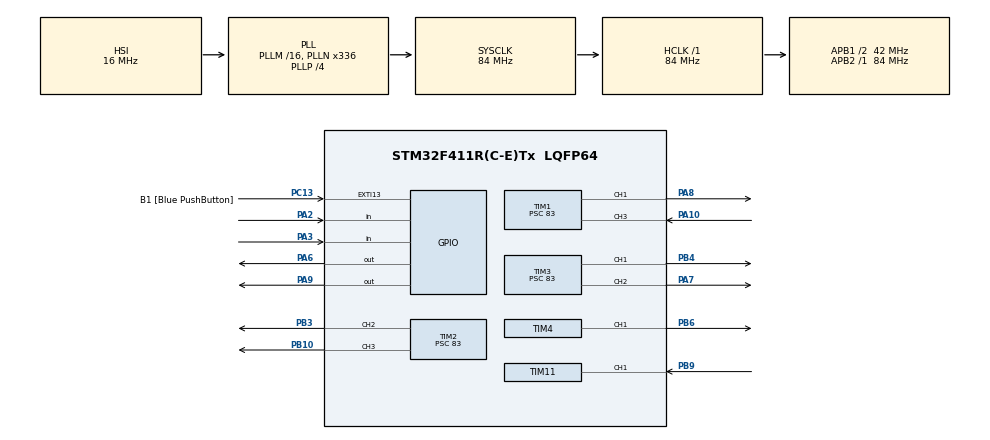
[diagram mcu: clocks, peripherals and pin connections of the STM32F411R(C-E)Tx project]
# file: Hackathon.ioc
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Mcu.Family=STM32F4
Mcu.Name=STM32F411R(C-E)Tx
Mcu.Package=LQFP64
NVIC.PriorityGroup=NVIC_PRIORITYGROUP_0
PA10.Signal=S_TIM1_CH3
PA14.GPIO_Label=TCK
PA14.Signal=SYS_JTCK-SWCLK
PA2.GPIO_PuPd=GPIO_PULLDOWN
PA2.Signal=GPIO_Input
PA3.GPIO_PuPd=GPIO_PULLDOWN
PA3.Signal=GPIO_Input
PA6.Signal=GPIO_Output
PA7.Signal=S_TIM3_CH2
PA8.Signal=S_TIM1_CH1
PA9.Signal=GPIO_Output
PB10.Signal=S_TIM2_CH3
PB3.Signal=S_TIM2_CH2
PB4.Signal=S_TIM3_CH1
PB6.Signal=S_TIM4_CH1
PB9.Signal=S_TIM11_CH1
PC13-ANTI_TAMP.GPIO_Label=B1 [Blue PushButton]
PC13-ANTI_TAMP.GPIO_ModeDefaultEXTI=GPIO_MODE_IT_FALLING
PC13-ANTI_TAMP.Signal=GPXTI13
PC14-OSC32_IN.Mode=LSE-External-Oscillator
PC14-OSC32_IN.Signal=RCC_OSC32_IN
PC15-OSC32_OUT.Mode=LSE-External-Oscillator
PC15-OSC32_OUT.Signal=RCC_OSC32_OUT
PH0\ -\ OSC_IN.Mode=HSE-External-Clock-Source
PH0\ -\ OSC_IN.Signal=RCC_OSC_IN
PH1\ -\ OSC_OUT.Mode=HSE-External-Clock-Source
PH1\ -\ OSC_OUT.Signal=RCC_OSC_OUT
ProjectManager.HeapSize=0x200
ProjectManager.StackSize=0x400
ProjectManager.TargetToolchain=STM32CubeIDE
RCC.48MHZClocksFreq_Value=84000000
RCC.AHBFreq_Value=84000000
RCC.APB1CLKDivider=RCC_HCLK_DIV2
RCC.APB1Freq_Value=42000000
RCC.APB1TimFreq_Value=84000000
RCC.APB2Freq_Value=84000000
RCC.APB2TimFreq_Value=84000000
RCC.CortexFreq_Value=84000000
RCC.FLatency-AdvancedSettings=FLASH_LATENCY_2
RCC.HCLKFreq_Value=84000000
RCC.HSE_VALUE=8000000
RCC.HSI_VALUE=16000000
RCC.PLLN=336
RCC.PLLP=RCC_PLLP_DIV4
RCC.RCC_RTC_Clock_Source=RCC_RTCCLKSOURCE_LSI
RCC.RCC_RTC_Clock_SourceVirtual=RCC_RTCCLKSOURCE_LSI
RCC.SYSCLKFreq_VALUE=84000000
RCC.SYSCLKSource=RCC_SYSCLKSOURCE_PLLCLK
RCC.VCOOutputFreq_Value=336000000
SH.S_TIM11_CH1.0=TIM11_CH1,Input_Capture1_from_TI1
SH.S_TIM1_CH1.0=TIM1_CH1,PWM Generation1 CH1
SH.S_TIM1_CH3.0=TIM1_CH3,Input_Capture3_from_TI3
SH.S_TIM2_CH2.0=TIM2_CH2,PWM Generation2 CH2
SH.S_TIM2_CH3.0=TIM2_CH3,PWM Generation3 CH3
SH.S_TIM3_CH1.0=TIM3_CH1,PWM Generation1 CH1
SH.S_TIM3_CH2.0=TIM3_CH2,PWM Generation2 CH2
SH.S_TIM4_CH1.0=TIM4_CH1,PWM Generation1 CH1
TIM1.Channel-Input_Capture3_from_TI3=TIM_CHANNEL_3
TIM1.Channel-PWM\ Generation1\ CH1=TIM_CHANNEL_1
TIM1.Period=20000
TIM1.Prescaler=83
TIM1.Pulse-PWM\ Generation1\ CH1=1500
TIM11.Channel=TIM_CHANNEL_1
TIM11.Prescaler=83
TIM2.Channel-PWM\ Generation2\ CH2=TIM_CHANNEL_2
TIM2.Channel-PWM\ Generation3\ CH3=TIM_CHANNEL_3
TIM2.Period=20000
TIM2.Prescaler=83
TIM2.Pulse-PWM\ Generation2\ CH2=1500
TIM2.Pulse-PWM\ Generation3\ CH3=1500
TIM3.Channel-PWM\ Generation1\ CH1=TIM_CHANNEL_1
TIM3.Channel-PWM\ Generation2\ CH2=TIM_CHANNEL_2
TIM3.Period=20000
TIM3.Prescaler=83
TIM3.Pulse-PWM\ Generation1\ CH1=1500
TIM3.Pulse-PWM\ Generation2\ CH2=1500
TIM4.Channel-PWM\ Generation1\ CH1=TIM_CHANNEL_1
TIM4.Period=20000
TIM4.Prescaler=83
TIM4.Pulse-PWM\ Generation1\ CH1=1500
VP_TIM11_VS_ClockSourceINT.Mode=Enable_Timer
board=NUCLEO-F411RE

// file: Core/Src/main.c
/* USER CODE BEGIN Header */
/**
  ******************************************************************************
  * @file           : main.c
  * @brief          : Main program body
  ******************************************************************************
  * @attention
  *
  * Copyright (c) 2025 STMicroelectronics.
  * All rights reserved.
  *
  * This software is licensed under terms that can be found in the LICENSE file
  * in the root directory of this software component.
  * If no LICENSE file comes with this software, it is provided AS-IS.
  *
  ******************************************************************************
  */
/* USER CODE END Header */
#include "main.h"

/* USER CODE BEGIN Includes */
#include "Braccio.h"
#include "Ultra.h"
#include "uart_comm.h"
#include<string.h>
#include<stdbool.h>
/* USER CODE END Includes */

TIM_HandleTypeDef htim1;
TIM_HandleTypeDef htim2;
TIM_HandleTypeDef htim3;
TIM_HandleTypeDef htim4;
TIM_HandleTypeDef htim11;

void SystemClock_Config(void);
static void MX_GPIO_Init(void);
static void MX_TIM2_Init(void);
static void MX_TIM3_Init(void);
static void MX_TIM4_Init(void);
static void MX_TIM1_Init(void);
static void MX_TIM11_Init(void);

/* USER CODE BEGIN 0 */
Braccio arm;
uint16_t dist;
/* USER CODE END 0 */

int main(void)
{

  /* MCU Configuration--------------------------------------------------------*/

  /* Reset of all peripherals, Initializes the Flash interface and the Systick. */
  HAL_Init();

  /* Configure the system clock */
  SystemClock_Config();

  /* Initialize all configured peripherals */
  MX_GPIO_Init();
  MX_TIM2_Init();
  MX_TIM3_Init();
  MX_TIM4_Init();
  MX_TIM1_Init();
  MX_TIM11_Init();
  /* USER CODE BEGIN 2 */

  /* Initialize the Braccio arm struct with the appropriate TIM handles */
  arm.timBase 	  = &htim3;
  arm.timShoulder = &htim4;
  arm.timElbow 	  = &htim1;
  arm.timWristV   = &htim2;
  arm.timWristR   = &htim3;
  arm.timGripper  = &htim2;

  /* Initialize Braccio servos (start PWM) */
  Braccio_Init(&arm);
  HAL_GPIO_WritePin(GPIOA, GPIO_PIN_6, GPIO_PIN_SET);
  //UART_Comm_Init(&huart2);
  /* USER CODE END 2 */

  /* Infinite loop */
  /* USER CODE BEGIN WHILE */
  while (1)
   {

	  if (HAL_GPIO_ReadPin(GPIOA, GPIO_PIN_3) == GPIO_PIN_RESET) // PA2 = 1 -> sistem activ
	  {
		  	  dist = Ultrasonic_ReadDistance();

	  	  	  HAL_Delay(1000);
	   		  Braccio_MoveGripperSmooth(&arm, 1500, 1500, 1500, 1500, 1500, 166);

	   	  	  HAL_Delay(1000);
	   	  	  Braccio_RotateAndLiftGripperOpen(&arm, 1500, 1050, 1500, 1900);
	   	  	  HAL_Delay(1000);

	   	  	Braccio_RotateAndLiftGripperOpen(&arm, 1050, 1050, 1900, 1000);
	   		  HAL_Delay(1000);
	   		  Braccio_MoveGripperSmooth(&arm, 1050, 1500, 1500, 1000, 1500, 2500);
	   		  HAL_Delay(1000);
	   		  Braccio_RotateAndLiftGripperClosed(&arm, 1050, 2150, 1000, 2300);
	   		  HAL_Delay(1000);
	   		  Braccio_RotateAndLiftGripperClosed(&arm, 2150, 1900, 2300, 1000);
	   		  HAL_Delay(1000);
	   		  Braccio_MoveGripperSmooth(&arm, 1900, 1500, 1500, 1000, 1500, 166);
	   		  HAL_Delay(1000);
	   		  Braccio_RotateAndLiftGripperOpen(&arm, 1900 ,2150, 1000, 1500);
	   		  HAL_Delay(1000);
	   		  Braccio_RotateAndLiftGripperOpen(&arm, 2150, 2150, 1500, 2300);
	   		  HAL_Delay(1000);
	   		  Braccio_RotateAndLiftGripperOpen(&arm, 2150, 1700, 2300, 2300);
	   		  HAL_Delay(1000);
	   		  Braccio_RotateAndLiftGripperClosed(&arm, 1700, 1500, 2300, 1500);
	   		  HAL_Delay(1000);
/*
        #Afisare la camera in cleste
	   		  Braccio_Move(&arm, 1900, 1500, 1500, 1000, 1500, 166);
	   		  HAL_Delay(1000);
	   		  Braccio_Move(&arm, 1900, 1500, 1500, 1500, 1500, 166);
	   		  HAL_Delay(1000);

	   		  //Braccio_SmoothMove(&arm);
	   	      //HAL_Delay(1000);

	   	      Braccio_RotateAndLiftGripperClosed(&arm, 1900, 750, 1500, 1900);
	   	   	  HAL_Delay(1000);
	   	      Braccio_Move(&arm, 750, 1500, 1800, 1900, 1500, 2500);
	   	   	  HAL_Delay(1000);
	   	      Braccio_Move(&arm, 750, 1500, 1500, 1300, 1500, 2500);
	   	   	  HAL_Delay(1000);
	   	      Braccio_Move(&arm, 750, 1500, 1500, 1300, 1500, 166);
	   	   	  HAL_Delay(1000);

*/
	  }

    /* USER CODE END WHILE */

  }
}

void SystemClock_Config(void)
{
  RCC_OscInitTypeDef RCC_OscInitStruct = {0};
  RCC_ClkInitTypeDef RCC_ClkInitStruct = {0};

  /** Configure the main internal regulator output voltage
  */
  __HAL_RCC_PWR_CLK_ENABLE();
  __HAL_PWR_VOLTAGESCALING_CONFIG(PWR_REGULATOR_VOLTAGE_SCALE1);

  /** Initializes the RCC Oscillators according to the specified parameters
  * in the RCC_OscInitTypeDef structure.
  */
  RCC_OscInitStruct.OscillatorType = RCC_OSCILLATORTYPE_HSI|RCC_OSCILLATORTYPE_HSE;
  RCC_OscInitStruct.HSEState = RCC_HSE_BYPASS;
  RCC_OscInitStruct.HSIState = RCC_HSI_ON;
  RCC_OscInitStruct.HSICalibrationValue = RCC_HSICALIBRATION_DEFAULT;
  RCC_OscInitStruct.PLL.PLLState = RCC_PLL_ON;
  RCC_OscInitStruct.PLL.PLLSource = RCC_PLLSOURCE_HSI;
  RCC_OscInitStruct.PLL.PLLM = 16;
  RCC_OscInitStruct.PLL.PLLN = 336;
  RCC_OscInitStruct.PLL.PLLP = RCC_PLLP_DIV4;
  RCC_OscInitStruct.PLL.PLLQ = 4;
  if (HAL_RCC_OscConfig(&RCC_OscInitStruct) != HAL_OK)
  {
    Error_Handler();
  }

  /** Initializes the CPU, AHB and APB buses clocks
  */
  RCC_ClkInitStruct.ClockType = RCC_CLOCKTYPE_HCLK|RCC_CLOCKTYPE_SYSCLK
                              |RCC_CLOCKTYPE_PCLK1|RCC_CLOCKTYPE_PCLK2;
  RCC_ClkInitStruct.SYSCLKSource = RCC_SYSCLKSOURCE_PLLCLK;
  RCC_ClkInitStruct.AHBCLKDivider = RCC_SYSCLK_DIV1;
  RCC_ClkInitStruct.APB1CLKDivider = RCC_HCLK_DIV2;
  RCC_ClkInitStruct.APB2CLKDivider = RCC_HCLK_DIV1;

  if (HAL_RCC_ClockConfig(&RCC_ClkInitStruct, FLASH_LATENCY_2) != HAL_OK)
  {
    Error_Handler();
  }
}

static void MX_TIM1_Init(void)
{

  TIM_MasterConfigTypeDef sMasterConfig = {0};
  TIM_OC_InitTypeDef sConfigOC = {0};
  TIM_IC_InitTypeDef sConfigIC = {0};
  TIM_BreakDeadTimeConfigTypeDef sBreakDeadTimeConfig = {0};

  htim1.Instance = TIM1;
  htim1.Init.Prescaler = 83;
  htim1.Init.CounterMode = TIM_COUNTERMODE_UP;
  htim1.Init.Period = 20000;
  htim1.Init.ClockDivision = TIM_CLOCKDIVISION_DIV1;
  htim1.Init.RepetitionCounter = 0;
  htim1.Init.AutoReloadPreload = TIM_AUTORELOAD_PRELOAD_DISABLE;
  if (HAL_TIM_PWM_Init(&htim1) != HAL_OK)
  {
    Error_Handler();
  }
  if (HAL_TIM_IC_Init(&htim1) != HAL_OK)
  {
    Error_Handler();
  }
  sMasterConfig.MasterOutputTrigger = TIM_TRGO_RESET;
  sMasterConfig.MasterSlaveMode = TIM_MASTERSLAVEMODE_DISABLE;
  if (HAL_TIMEx_MasterConfigSynchronization(&htim1, &sMasterConfig) != HAL_OK)
  {
    Error_Handler();
  }
  sConfigOC.OCMode = TIM_OCMODE_PWM1;
  sConfigOC.Pulse = 1500;
  sConfigOC.OCPolarity = TIM_OCPOLARITY_HIGH;
  sConfigOC.OCNPolarity = TIM_OCNPOLARITY_HIGH;
  sConfigOC.OCFastMode = TIM_OCFAST_DISABLE;
  sConfigOC.OCIdleState = TIM_OCIDLESTATE_RESET;
  sConfigOC.OCNIdleState = TIM_OCNIDLESTATE_RESET;
  if (HAL_TIM_PWM_ConfigChannel(&htim1, &sConfigOC, TIM_CHANNEL_1) != HAL_OK)
  {
    Error_Handler();
  }
  sConfigIC.ICPolarity = TIM_INPUTCHANNELPOLARITY_RISING;
  sConfigIC.ICSelection = TIM_ICSELECTION_DIRECTTI;
  sConfigIC.ICPrescaler = TIM_ICPSC_DIV1;
  sConfigIC.ICFilter = 0;
  if (HAL_TIM_IC_ConfigChannel(&htim1, &sConfigIC, TIM_CHANNEL_3) != HAL_OK)
  {
    Error_Handler();
  }
  sBreakDeadTimeConfig.OffStateRunMode = TIM_OSSR_DISABLE;
  sBreakDeadTimeConfig.OffStateIDLEMode = TIM_OSSI_DISABLE;
  sBreakDeadTimeConfig.LockLevel = TIM_LOCKLEVEL_OFF;
  sBreakDeadTimeConfig.DeadTime = 0;
  sBreakDeadTimeConfig.BreakState = TIM_BREAK_DISABLE;
  sBreakDeadTimeConfig.BreakPolarity = TIM_BREAKPOLARITY_HIGH;
  sBreakDeadTimeConfig.AutomaticOutput = TIM_AUTOMATICOUTPUT_DISABLE;
  if (HAL_TIMEx_ConfigBreakDeadTime(&htim1, &sBreakDeadTimeConfig) != HAL_OK)
  {
    Error_Handler();
  }
  HAL_TIM_MspPostInit(&htim1);

}

static void MX_TIM2_Init(void)
{

  TIM_MasterConfigTypeDef sMasterConfig = {0};
  TIM_OC_InitTypeDef sConfigOC = {0};

  htim2.Instance = TIM2;
  htim2.Init.Prescaler = 83;
  htim2.Init.CounterMode = TIM_COUNTERMODE_UP;
  htim2.Init.Period = 20000;
  htim2.Init.ClockDivision = TIM_CLOCKDIVISION_DIV1;
  htim2.Init.AutoReloadPreload = TIM_AUTORELOAD_PRELOAD_DISABLE;
  if (HAL_TIM_PWM_Init(&htim2) != HAL_OK)
  {
    Error_Handler();
  }
  sMasterConfig.MasterOutputTrigger = TIM_TRGO_RESET;
  sMasterConfig.MasterSlaveMode = TIM_MASTERSLAVEMODE_DISABLE;
  if (HAL_TIMEx_MasterConfigSynchronization(&htim2, &sMasterConfig) != HAL_OK)
  {
    Error_Handler();
  }
  sConfigOC.OCMode = TIM_OCMODE_PWM1;
  sConfigOC.Pulse = 1500;
  sConfigOC.OCPolarity = TIM_OCPOLARITY_HIGH;
  sConfigOC.OCFastMode = TIM_OCFAST_DISABLE;
  if (HAL_TIM_PWM_ConfigChannel(&htim2, &sConfigOC, TIM_CHANNEL_2) != HAL_OK)
  {
    Error_Handler();
  }
  if (HAL_TIM_PWM_ConfigChannel(&htim2, &sConfigOC, TIM_CHANNEL_3) != HAL_OK)
  {
    Error_Handler();
  }
  HAL_TIM_MspPostInit(&htim2);

}

static void MX_TIM3_Init(void)
{

  TIM_MasterConfigTypeDef sMasterConfig = {0};
  TIM_OC_InitTypeDef sConfigOC = {0};

  htim3.Instance = TIM3;
  htim3.Init.Prescaler = 83;
  htim3.Init.CounterMode = TIM_COUNTERMODE_UP;
  htim3.Init.Period = 20000;
  htim3.Init.ClockDivision = TIM_CLOCKDIVISION_DIV1;
  htim3.Init.AutoReloadPreload = TIM_AUTORELOAD_PRELOAD_DISABLE;
  if (HAL_TIM_PWM_Init(&htim3) != HAL_OK)
  {
    Error_Handler();
  }
  sMasterConfig.MasterOutputTrigger = TIM_TRGO_RESET;
  sMasterConfig.MasterSlaveMode = TIM_MASTERSLAVEMODE_DISABLE;
  if (HAL_TIMEx_MasterConfigSynchronization(&htim3, &sMasterConfig) != HAL_OK)
  {
    Error_Handler();
  }
  sConfigOC.OCMode = TIM_OCMODE_PWM1;
  sConfigOC.Pulse = 1500;
  sConfigOC.OCPolarity = TIM_OCPOLARITY_HIGH;
  sConfigOC.OCFastMode = TIM_OCFAST_DISABLE;
  if (HAL_TIM_PWM_ConfigChannel(&htim3, &sConfigOC, TIM_CHANNEL_1) != HAL_OK)
  {
    Error_Handler();
  }
  if (HAL_TIM_PWM_ConfigChannel(&htim3, &sConfigOC, TIM_CHANNEL_2) != HAL_OK)
  {
    Error_Handler();
  }
  HAL_TIM_MspPostInit(&htim3);

}

static void MX_TIM4_Init(void)
{

  TIM_MasterConfigTypeDef sMasterConfig = {0};
  TIM_OC_InitTypeDef sConfigOC = {0};

  htim4.Instance = TIM4;
  htim4.Init.Prescaler = 83;
  htim4.Init.CounterMode = TIM_COUNTERMODE_UP;
  htim4.Init.Period = 20000;
  htim4.Init.ClockDivision = TIM_CLOCKDIVISION_DIV1;
  htim4.Init.AutoReloadPreload = TIM_AUTORELOAD_PRELOAD_DISABLE;
  if (HAL_TIM_PWM_Init(&htim4) != HAL_OK)
  {
    Error_Handler();
  }
  sMasterConfig.MasterOutputTrigger = TIM_TRGO_RESET;
  sMasterConfig.MasterSlaveMode = TIM_MASTERSLAVEMODE_DISABLE;
  if (HAL_TIMEx_MasterConfigSynchronization(&htim4, &sMasterConfig) != HAL_OK)
  {
    Error_Handler();
  }
  sConfigOC.OCMode = TIM_OCMODE_PWM1;
  sConfigOC.Pulse = 1500;
  sConfigOC.OCPolarity = TIM_OCPOLARITY_HIGH;
  sConfigOC.OCFastMode = TIM_OCFAST_DISABLE;
  if (HAL_TIM_PWM_ConfigChannel(&htim4, &sConfigOC, TIM_CHANNEL_1) != HAL_OK)
  {
    Error_Handler();
  }
  HAL_TIM_MspPostInit(&htim4);

}

static void MX_TIM11_Init(void)
{

  TIM_IC_InitTypeDef sConfigIC = {0};

  htim11.Instance = TIM11;
  htim11.Init.Prescaler = 83;
  htim11.Init.CounterMode = TIM_COUNTERMODE_UP;
  htim11.Init.Period = 65535;
  htim11.Init.ClockDivision = TIM_CLOCKDIVISION_DIV1;
  htim11.Init.AutoReloadPreload = TIM_AUTORELOAD_PRELOAD_DISABLE;
  if (HAL_TIM_Base_Init(&htim11) != HAL_OK)
  {
    Error_Handler();
  }
  if (HAL_TIM_IC_Init(&htim11) != HAL_OK)
  {
    Error_Handler();
  }
  sConfigIC.ICPolarity = TIM_INPUTCHANNELPOLARITY_RISING;
  sConfigIC.ICSelection = TIM_ICSELECTION_DIRECTTI;
  sConfigIC.ICPrescaler = TIM_ICPSC_DIV1;
  sConfigIC.ICFilter = 0;
  if (HAL_TIM_IC_ConfigChannel(&htim11, &sConfigIC, TIM_CHANNEL_1) != HAL_OK)
  {
    Error_Handler();
  }

}

static void MX_GPIO_Init(void)
{
  GPIO_InitTypeDef GPIO_InitStruct = {0};

  /* GPIO Ports Clock Enable */
  __HAL_RCC_GPIOC_CLK_ENABLE();
  __HAL_RCC_GPIOH_CLK_ENABLE();
  __HAL_RCC_GPIOA_CLK_ENABLE();
  __HAL_RCC_GPIOB_CLK_ENABLE();

  /*Configure GPIO pin Output Level */
  HAL_GPIO_WritePin(GPIOA, GPIO_PIN_6|GPIO_PIN_9, GPIO_PIN_RESET);

  /*Configure GPIO pin : B1_Pin */
  GPIO_InitStruct.Pin = B1_Pin;
  GPIO_InitStruct.Mode = GPIO_MODE_IT_FALLING;
  GPIO_InitStruct.Pull = GPIO_NOPULL;
  HAL_GPIO_Init(B1_GPIO_Port, &GPIO_InitStruct);

  /*Configure GPIO pins : PA2 PA3 */
  GPIO_InitStruct.Pin = GPIO_PIN_2|GPIO_PIN_3;
  GPIO_InitStruct.Mode = GPIO_MODE_INPUT;
  GPIO_InitStruct.Pull = GPIO_PULLDOWN;
  HAL_GPIO_Init(GPIOA, &GPIO_InitStruct);

  /*Configure GPIO pins : PA6 PA9 */
  GPIO_InitStruct.Pin = GPIO_PIN_6|GPIO_PIN_9;
  GPIO_InitStruct.Mode = GPIO_MODE_OUTPUT_PP;
  GPIO_InitStruct.Pull = GPIO_NOPULL;
  GPIO_InitStruct.Speed = GPIO_SPEED_FREQ_LOW;
  HAL_GPIO_Init(GPIOA, &GPIO_InitStruct);

}

void Error_Handler(void)
{
  __disable_irq();
  while (1)
  {
  }
}
